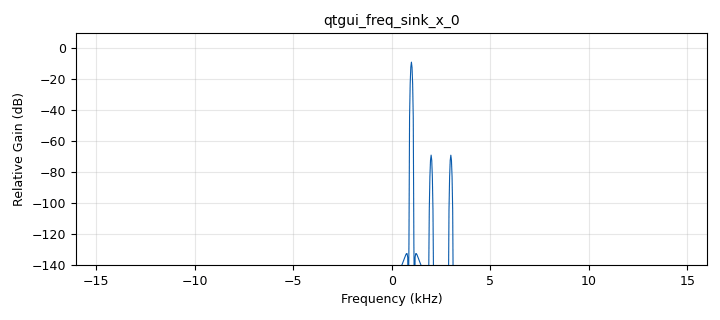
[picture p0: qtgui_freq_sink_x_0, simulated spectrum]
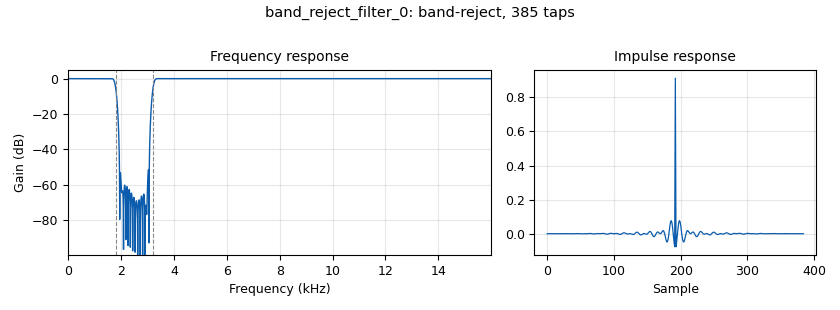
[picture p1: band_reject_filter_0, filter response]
options:
  parameters:
    generate_options: qt_gui
    id: filtering
    output_language: python
    title: Not titled yet
  states: {}

blocks:
- name: samp_rate
  id: variable
  parameters:
    value: '32000'
  states: {}
- name: analog_sig_source_x_0
  id: analog_sig_source_x
  parameters:
    amp: '1'
    freq: '1000'
    offset: '0'
    phase: '0'
    samp_rate: samp_rate
    type: complex
    waveform: analog.GR_COS_WAVE
  states: {}
- name: analog_sig_source_x_1
  id: analog_sig_source_x
  parameters:
    amp: '1'
    freq: '2000'
    offset: '0'
    phase: '0'
    samp_rate: samp_rate
    type: complex
    waveform: analog.GR_COS_WAVE
  states: {}
- name: analog_sig_source_x_2
  id: analog_sig_source_x
  parameters:
    amp: '1'
    freq: '3000'
    offset: '0'
    phase: '0'
    samp_rate: samp_rate
    type: complex
    waveform: analog.GR_COS_WAVE
  states: {}
- name: band_pass_filter_0
  id: band_pass_filter
  parameters:
    decim: '1'
    gain: '1'
    high_cutoff_freq: '2200'
    low_cutoff_freq: '1800'
    samp_rate: samp_rate
    type: fir_filter_ccf
    width: '100'
    win: window.WIN_HAMMING
  states: {state: disabled}
- name: band_reject_filter_0
  id: band_reject_filter
  parameters:
    decim: '1'
    gain: '1'
    high_cutoff_freq: '3200'
    low_cutoff_freq: '1800'
    samp_rate: samp_rate
    type: fir_filter_ccf
    width: '200'
    win: window.WIN_HAMMING
  states: {}
- name: blocks_add_xx_0
  id: blocks_add_xx
  parameters:
    num_inputs: '3'
    type: complex
  states: {}
- name: blocks_throttle_0
  id: blocks_throttle
  parameters:
    samples_per_second: samp_rate
    type: complex
  states: {}
- name: high_pass_filter_0
  id: high_pass_filter
  parameters:
    cutoff_freq: '2200'
    decim: '1'
    gain: '1'
    samp_rate: samp_rate
    type: fir_filter_ccf
    width: '100'
    win: window.WIN_HAMMING
  states: {state: disabled}
- name: low_pass_filter_0
  id: low_pass_filter
  parameters:
    cutoff_freq: '1500'
    gain: '1'
    interp: '1'
    samp_rate: samp_rate
    type: interp_fir_filter_ccf
    width: '200'
    win: window.WIN_RECTANGULAR
  states: {state: disabled}
- name: qtgui_freq_sink_x_0
  id: qtgui_freq_sink_x
  parameters:
    bw: samp_rate
    fc: '0'
    fftsize: '1024'
    type: complex
  states: {}

connections:
- [analog_sig_source_x_0, '0', blocks_add_xx_0, '0']
- [analog_sig_source_x_1, '0', blocks_add_xx_0, '1']
- [analog_sig_source_x_2, '0', blocks_add_xx_0, '2']
- [band_pass_filter_0, '0', blocks_throttle_0, '0']
- [band_reject_filter_0, '0', blocks_throttle_0, '0']
- [blocks_add_xx_0, '0', band_pass_filter_0, '0']
- [blocks_add_xx_0, '0', band_reject_filter_0, '0']
- [blocks_add_xx_0, '0', high_pass_filter_0, '0']
- [blocks_add_xx_0, '0', low_pass_filter_0, '0']
- [blocks_throttle_0, '0', qtgui_freq_sink_x_0, '0']
- [high_pass_filter_0, '0', blocks_throttle_0, '0']
- [low_pass_filter_0, '0', blocks_throttle_0, '0']

metadata:
  file_format: 1
